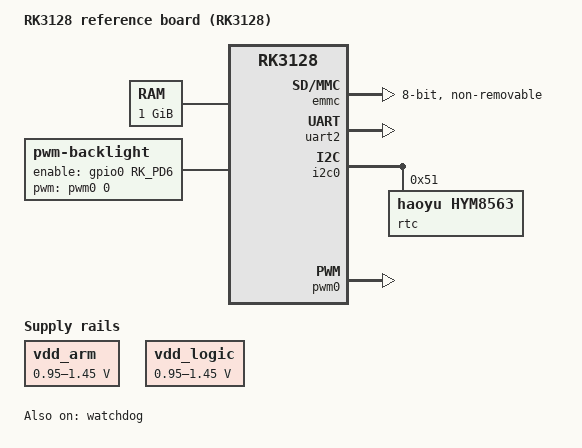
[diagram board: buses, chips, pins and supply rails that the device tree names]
// SPDX-License-Identifier: GPL-2.0+
/*
 * RK3128 reference board (RK3128, 1 GB, 1920x1080 panel), test board DT for the Linux port
 * (development record #286, docs/RK3128-LINUX.md "Build pipeline").
 *
 * Translated by hand from the stock rk-kernel.dtb (3.10 Rockchip bindings, in the `second` stage
 * of /data/local/stock-backup/boot.img.orig; `tools/dtb_patch.py show`). Every number that
 * has a mainline home keeps the vendor value. What has none is a comment, not a guess.
 *
 * Built by scripts/linux-build.sh through a generated wrapper that #defines the RK3128_* knobs
 * below before including this file. Nothing here is flashed by the build.
 */

/dts-v1/;

#include "rk3128.dtsi"
#include <dt-bindings/pwm/pwm.h>

/* ---- build knobs (the wrapper sets them; these are the defaults) ------------------------- */

/*
 * Ramoops range: the vendor kernel's own RAM log region, measured by the test-slot ticket
 * (development record #284, docs/RK3128-LINUX.md "Test slot and ramoops"): 512 KiB at 0x7f100000.
 * A /dev/kmsg line there survived a recovery boot and a plain warm reboot, at the same address;
 * it overlaps neither CMA nor u-boot's logo buffer.
 */
#ifndef RK3128_RAMOOPS_ADDR
#define RK3128_RAMOOPS_ADDR	0x7f100000
#endif
#ifndef RK3128_RAMOOPS_SIZE
#define RK3128_RAMOOPS_SIZE	0x00080000
#endif

/* u-boot's logo framebuffer: `uboot_logo=0x02000000@0x9dc00000:0x01000000` on the stock cmdline */
#define RK3128_UBOOT_FB_ADDR	0x9dc00000
#define RK3128_UBOOT_FB_REGION	0x02000000

/* Pixel format of that framebuffer is NOT known (the stock tree does not say). a8r8g8b8 is
 * u-boot's usual 32 bpp; override with RK3128_FB_FORMAT/RK3128_FB_BPP when the board shows noise. */
#ifndef RK3128_FB_FORMAT
#define RK3128_FB_FORMAT		"a8r8g8b8"
#endif
#ifndef RK3128_FB_BPP
#define RK3128_FB_BPP		4
#endif

/*
 * Display path (scripts/linux-build.sh RK3128_DISPLAY, development record #292): 0 = the default, u-boot's
 * framebuffer through simplefb; 1 = the RK3128 LVDS DRM driver (linux/patches/) drives the panel.
 * RK3128_SIMPLEFB_STATUS is the simple-framebuffer node's status ("okay" for 0, "disabled" for 1: a probing
 * Rockchip DRM driver resets the VOP, so u-boot's scan-out and the simplefb that follows it end there).
 */
#ifndef RK3128_DISPLAY_LVDS
#define RK3128_DISPLAY_LVDS	0
#endif
#ifndef RK3128_SIMPLEFB_STATUS
#define RK3128_SIMPLEFB_STATUS	"okay"
#endif

/* The PWM voltage regulators are off in the first test image: see the comment at their nodes. */
#ifndef RK3128_PWM_REGULATORS
#define RK3128_PWM_REGULATORS	"disabled"
#endif

/ {
	model = "RK3128 reference board (RK3128)";
	compatible = "rockchip,rk3128-reference", "rockchip,rk3128";

	aliases {
		mmc0 = &emmc;
	};

	chosen {
		/*
		 * u-boot rewrites bootargs (header cmdline + its own additions) and the initrd range.
		 * No stdout-path: no UART cable is attached (owner, 2026-11-06), so the log goes to the
		 * ramoops console (CONFIG_PSTORE_CONSOLE) and to the panel (fbcon).
		 */
	};

	/*
	 * u-boot's bootrk finds this node by its path `/memory` (the stock tree has it too) and
	 * overwrites reg with the DRAM size it detected. 0x60000000 + 1 GB is the stock value.
	 */
	memory {
		device_type = "memory";
		reg = <0x60000000 0x40000000>;
	};

	reserved-memory {
		#address-cells = <1>;
		#size-cells = <1>;
		ranges;

		/* u-boot's logo framebuffer and its kernel-logo area; keep Linux out of it */
		uboot_fb: framebuffer@9dc00000 {
			reg = <RK3128_UBOOT_FB_ADDR RK3128_UBOOT_FB_REGION>;
			no-map;
		};

		/*
		 * pstore/ramoops, read back from Android after a warm reboot. The 512 KiB split: console
		 * 256 KiB (a whole early boot with ignore_loglevel is well under that), pmsg 64 KiB (the
		 * initramfs log), and 3 oops/panic records of 64 KiB in the rest.
		 */
		ramoops: ramoops@7f100000 {
			compatible = "ramoops";
			reg = <RK3128_RAMOOPS_ADDR RK3128_RAMOOPS_SIZE>;
			no-map;
			record-size = <0x10000>;
			console-size = <0x40000>;
			pmsg-size = <0x10000>;
		};
	};

	/*
	 * u-boot lit the panel and keeps scanning this buffer out (the vendor tree's
	 * `rockchip,uboot-logo-on`). This is the default display path (RK3128_DISPLAY=simplefb):
	 * fbcon draws on it, and the VOP, LVDS PHY and bridge are left exactly as u-boot set
	 * them, so the kernel must not gate their clocks or power the domain down
	 * (`clk_ignore_unused pd_ignore_unused` on the cmdline, and the clocks/power-domain
	 * listed here). With RK3128_DISPLAY=lvds the node is disabled and the RK3128 LVDS DRM
	 * driver takes the VOP over with normal unused-clock/domain shutdown (#523; see
	 * `&rk3128_panel` and linux/dts/rk3128-display-lvds.dtsi).
	 */
	framebuffer@9dc00000 {
		compatible = "simple-framebuffer";
		reg = <RK3128_UBOOT_FB_ADDR (1920 * 1080 * RK3128_FB_BPP)>;
		width = <1920>;
		height = <1080>;
		stride = <(1920 * RK3128_FB_BPP)>;
		format = RK3128_FB_FORMAT;
		clocks = <&cru ACLK_LCDC0>, <&cru DCLK_VOP>, <&cru HCLK_LCDC0>,
			 <&cru PCLK_MIPIPHY>, <&cru HCLK_VIO_H2P>;
		power-domains = <&power RK3128_PD_VIO>;
		status = RK3128_SIMPLEFB_STATUS;
	};

	/*
	 * The panel with the vendor timing (stock `display-timings/timing0`, screen-type 2 = LVDS,
	 * lvds-format 0, out-face 0). 120 MHz is what the vendor asks for; its clock tree gets
	 * 118.8 MHz (51 Hz, HARDWARE.md "Why 51 Hz"): the totals are 2080 x 1120.
	 *
	 * Disabled unless RK3128_DISPLAY=lvds (linux/dts/rk3128-display-lvds.dtsi). Mainline 6.18 has no
	 * RK3128 LVDS output; linux/patches/ adds it (rockchip_lvds.c variant, binding, `lvds` node
	 * in rk3128.dtsi: docs/RK3128-LINUX.md "LVDS port"). The vendor drives the panel through the
	 * MIPI PHY (`lvds@20038000`, regs `mipi_lvds_phy` 0x20038000 and `mipi_lvds_ctl`
	 * 0x101100b0, the latter being the DSI host's PHY status register: not needed). No
	 * LT8911EX node: it has no OS driver and configures itself from the incoming LVDS.
	 */
	rk3128_panel: panel {
		compatible = "panel-lvds";
		/* about 244 x 137 mm: HARDWARE.md says density 200 dpi; the vendor tree has no size */
		width-mm = <244>;
		height-mm = <137>;
		data-mapping = "vesa-24";
		backlight = <&backlight>;
		status = "disabled";

		panel-timing {
			clock-frequency = <120000000>;
			hactive = <1920>;
			vactive = <1080>;
			hback-porch = <80>;
			hfront-porch = <48>;
			hsync-len = <32>;
			vback-porch = <31>;
			vfront-porch = <3>;
			vsync-len = <6>;
			hsync-active = <0>;
			vsync-active = <0>;
			de-active = <0>;
			pixelclk-active = <0>;
		};
	};

	/*
	 * Backlight: vendor `backlight` node (pwm-backlight on pwm@20050000 = pwm0, period 25000 ns,
	 * levels 0..255, default 0x80, enable gpio0 pin 30 = GPIO0_D6 active high).
	 */
	backlight: backlight {
		compatible = "pwm-backlight";
		pwms = <&pwm0 0 25000 0>;
		brightness-levels = <0 255>;
		num-interpolated-steps = <255>;
		default-brightness-level = <128>;
		enable-gpios = <&gpio0 RK_PD6 GPIO_ACTIVE_HIGH>;
	};

	/*
	 * CPU and logic rails: vendor `pwm-regulator1` (pwm1, vdd_arm) and `pwm-regulator2` (pwm2,
	 * vdd_logic), period 25000 ns, 950..1450 mV in 25 mV steps, boot values 1.25 V and 1.20 V.
	 * The vendor driver's `pwm_coefficient` 550 is the microvolts per 0.1 % of duty; the table
	 * below is voltage = 1450000 - 550 * duty (duty in 0.1 %, integer division like the vendor
	 * driver), i.e. a higher duty gives a LOWER voltage. That reading of the vendor
	 * driver (not in the repo) is inferred, not measured: so the nodes are off in the first test
	 * image, where u-boot's boot voltages keep the rails and no cpufreq or devfreq is built.
	 * Turn them on with RK3128_PWM_REGULATORS=okay once the readback is checked against the
	 * frame (docs/RK3128-LINUX.md "Open items").
	 */
	vdd_arm: regulator-vdd-arm {
		compatible = "pwm-regulator";
		pwms = <&pwm1 0 25000 0>;
		pwm-dutycycle-unit = <1000>;
		pwm-dutycycle-range = <909 0>;
		voltage-table = <950000 909>, <975000 863>, <1000000 818>, <1025000 772>,
				<1050000 727>, <1075000 681>, <1100000 636>, <1125000 590>,
				<1150000 545>, <1175000 500>, <1200000 454>, <1225000 409>,
				<1250000 363>, <1275000 318>, <1300000 272>, <1325000 227>,
				<1350000 181>, <1375000 136>, <1400000 90>, <1425000 45>,
				<1450000 0>;
		regulator-name = "vdd_arm";
		regulator-min-microvolt = <950000>;
		regulator-max-microvolt = <1450000>;
		regulator-always-on;
		regulator-boot-on;
		status = RK3128_PWM_REGULATORS;
	};

	vdd_logic: regulator-vdd-logic {
		compatible = "pwm-regulator";
		pwms = <&pwm2 0 25000 0>;
		pwm-dutycycle-unit = <1000>;
		pwm-dutycycle-range = <909 0>;
		voltage-table = <950000 909>, <975000 863>, <1000000 818>, <1025000 772>,
				<1050000 727>, <1075000 681>, <1100000 636>, <1125000 590>,
				<1150000 545>, <1175000 500>, <1200000 454>, <1225000 409>,
				<1250000 363>, <1275000 318>, <1300000 272>, <1325000 227>,
				<1350000 181>, <1375000 136>, <1400000 90>, <1425000 45>,
				<1450000 0>;
		regulator-name = "vdd_logic";
		regulator-min-microvolt = <950000>;
		regulator-max-microvolt = <1450000>;
		regulator-always-on;
		regulator-boot-on;
		status = RK3128_PWM_REGULATORS;
	};
};

/*
 * eMMC (FORESEE 16 GB, vendor `rksdmmc@1021c000`): 8-bit, high speed, the normal clk/cmd/bus8 pins. The transfer mode
 * (PIO or the PL330 DMA), the clock and DDR are linux/dts/rk3128-emmc.dtsi's, set by RK3128_EMMC (#425).
 */
&emmc {
	bus-width = <8>;
	non-removable;
	disable-wp;
	cap-mmc-highspeed;
	pinctrl-names = "default";
	pinctrl-0 = <&emmc_clk &emmc_cmd &emmc_bus8>;
	status = "okay";
};

/* The vendor tree's fiq-debugger is uart2; no cable is attached (owner decision 2026-11-06), nothing reads it. */
&uart2 {
	/delete-property/ dmas;
	/delete-property/ dma-names;
	status = "okay";
};

/* i2c0 (vendor `i2c@20072000`): touch gslX680 @0x40, sensors @0x18/@0x4c, hym8563 RTC @0x51 */
&i2c0 {
	status = "okay";

	rtc@51 {
		compatible = "haoyu,hym8563";
		reg = <0x51>;
		#clock-cells = <0>;
		clock-output-names = "xin32k";
	};
};

&pwm0 {
	status = "okay";
};

/* pwm1/pwm2 drive the CPU and logic rails (u-boot started them): untouched until the regulators are on */
&pwm1 {
	status = RK3128_PWM_REGULATORS;
};

&pwm2 {
	status = RK3128_PWM_REGULATORS;
};

/* The SoC watchdog (vendor `wdt@2004c000` is disabled there); the initramfs starts it. */
&watchdog {
	status = "okay";
};
